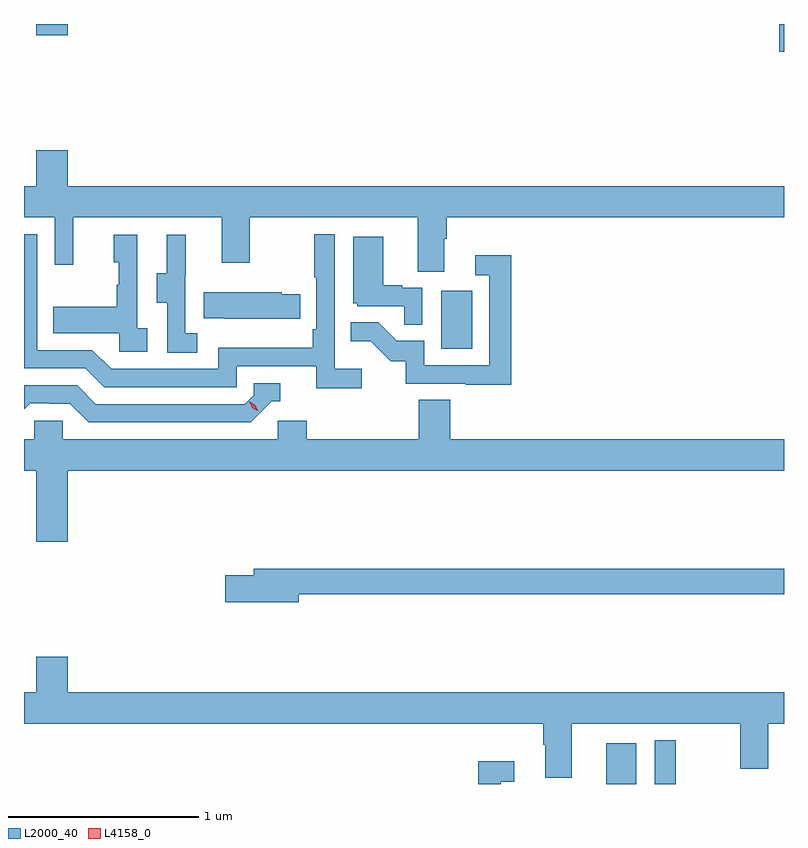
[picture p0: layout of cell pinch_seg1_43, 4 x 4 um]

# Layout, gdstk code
import gdstk
lib = gdstk.Library(unit=1e-6, precision=1e-09)
def R(c, l, rs):  # rectangles x0, y0, x1, y1
    for r in rs: c.add(gdstk.rectangle(r[:2], r[2:], *l))
def P(c, l, *ps):  # polygons
    for p in ps: c.add(gdstk.Polygon(p, *l))
L2000_40 = (2000, 40)
L4158_0 = (4158, 0)

pinch_seg1_43 = lib.new_cell('pinch_seg1_43')
R(pinch_seg1_43, L2000_40, [(1115.06,563.402,1115.218,563.617), (1115.316,563.402,1115.425,563.632), (1114.19,565.692,1114.354,565.999), (1115.969,567.255,1115.995,567.402), (1112.06,567.342,1112.224,567.402)])
P(pinch_seg1_43, L2000_40, [(1114.207,566.272),(1114.22,566.272),(1114.22,566.384),(1115.995,566.384),(1115.995,566.548),(1112.224,566.548),(1112.224,566.737),(1112.06,566.737),(1112.06,566.548),(1111.995,566.548),(1111.995,566.384),(1112.157,566.384),(1112.157,566.136),(1112.255,566.136),(1112.255,566.384),(1113.035,566.384),(1113.035,566.145),(1113.183,566.145),(1113.183,566.384),(1114.067,566.384),(1114.067,566.098),(1114.207,566.098)],
  [(1113.772,565.588),(1113.63,565.588),(1113.63,566.296),(1113.522,566.296),(1113.522,566.068),(1113.534,566.068),(1113.534,565.795),(1113.514,565.795),(1113.514,565.699),(1113.018,565.699),(1113.018,565.587),(1112.454,565.587),(1112.355,565.686),(1112.064,565.686),(1112.064,566.295),(1111.995,566.295),(1111.995,565.59),(1112.318,565.59),(1112.417,565.491),(1113.114,565.491),(1113.114,565.602),(1113.533,565.602),(1113.533,565.486),(1113.772,565.486)],
  [(1112.644,565.802),(1112.592,565.802),(1112.592,566.293),(1112.468,566.293),(1112.468,566.148),(1112.494,566.148),(1112.494,566.03),(1112.484,566.03),(1112.484,565.915),(1112.149,565.915),(1112.149,565.775),(1112.496,565.775),(1112.496,565.677),(1112.644,565.677)],
  [(1112.908,565.775),(1112.844,565.775),(1112.844,566.079),(1112.846,566.079),(1112.846,566.293),(1112.747,566.293),(1112.747,566.091),(1112.693,566.091),(1112.693,565.936),(1112.748,565.936),(1112.748,565.672),(1112.908,565.672)],
  [(1114.092,566.013),(1113.986,566.013),(1113.986,566.026),(1113.886,566.026),(1113.886,566.281),(1113.728,566.281),(1113.728,565.932),(1113.75,565.932),(1113.75,565.917),(1113.997,565.917),(1113.997,565.819),(1114.092,565.819)],
  [(1114.559,566.185),(1114.371,566.185),(1114.371,566.079),(1114.443,566.079),(1114.443,565.605),(1114.101,565.605),(1114.101,565.734),(1113.957,565.734),(1113.859,565.832),(1113.715,565.832),(1113.715,565.733),(1113.819,565.733),(1113.926,565.626),(1114.003,565.626),(1114.003,565.509),(1114.321,565.509),(1114.321,565.504),(1114.559,565.504)],
  [(1113.449,565.98),(1113.351,565.98),(1113.351,565.99),(1112.941,565.99),(1112.941,565.853),(1113.049,565.853),(1113.049,565.85),(1113.449,565.85)],
  [(1113.3,565.416),(1113.343,565.416),(1113.343,565.512),(1113.204,565.512),(1113.204,565.449),(1113.156,565.401),(1112.373,565.401),(1112.274,565.5),(1111.995,565.5),(1111.995,565.375),(1112.027,565.407),(1112.13,565.407),(1112.13,565.404),(1112.237,565.404),(1112.336,565.305),(1113.189,565.305)],
  [(1112.224,565.052),(1115.995,565.052),(1115.995,565.216),(1114.238,565.216),(1114.238,565.424),(1114.073,565.424),(1114.073,565.216),(1113.482,565.216),(1113.482,565.314),(1113.33,565.314),(1113.33,565.216),(1112.199,565.216),(1112.199,565.314),(1112.049,565.314),(1112.049,565.216),(1111.995,565.216),(1111.995,565.052),(1112.06,565.052),(1112.06,564.678),(1112.224,564.678)],
  [(1113.442,564.4),(1115.995,564.4),(1115.995,564.536),(1113.203,564.536),(1113.203,564.5),(1113.054,564.5),(1113.054,564.358),(1113.442,564.358)],
  [(1114.879,563.72),(1115.764,563.72),(1115.764,563.481),(1115.911,563.481),(1115.911,563.72),(1115.995,563.72),(1115.995,563.884),(1112.224,563.884),(1112.224,564.073),(1112.06,564.073),(1112.06,563.884),(1111.995,563.884),(1111.995,563.72),(1114.727,563.72),(1114.727,563.608),(1114.739,563.608),(1114.739,563.434),(1114.879,563.434)],
  [(1114.503,563.415),(1114.576,563.415),(1114.576,563.521),(1114.387,563.521),(1114.387,563.402),(1114.503,563.402)])
P(pinch_seg1_43, L4158_0, [(1113.228,565.364),(1113.197,565.383),(1113.18,565.415),(1113.18,565.416),(1113.181,565.416),(1113.212,565.396),(1113.228,565.364),(1113.228,565.364)])

lib.write_gds('pinch_seg1_43.gds')
